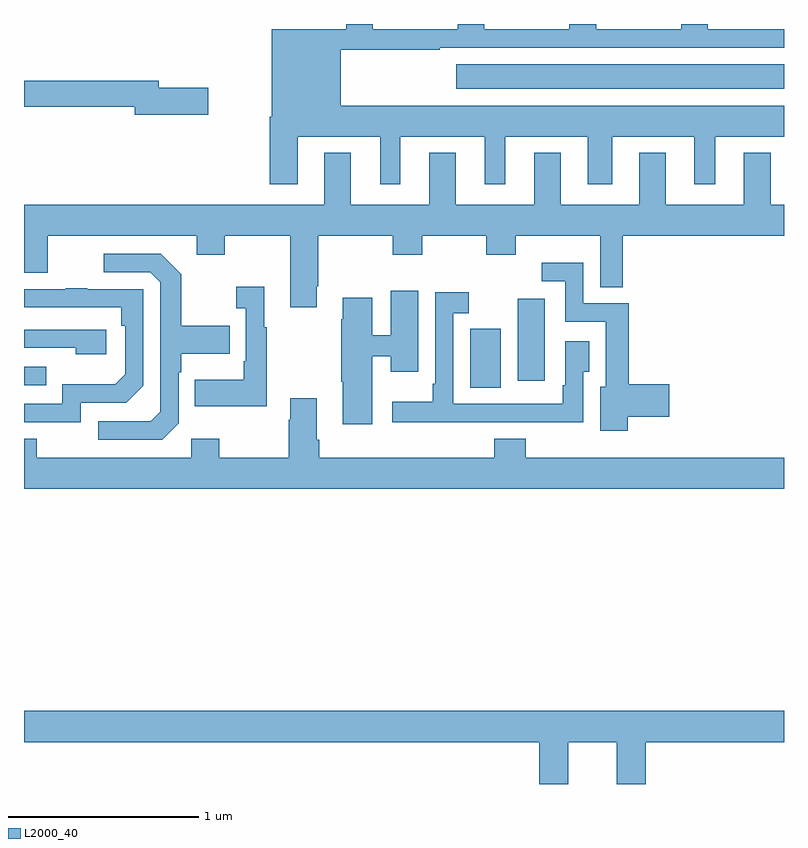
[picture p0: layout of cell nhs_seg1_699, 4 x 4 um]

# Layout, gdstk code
import gdstk
lib = gdstk.Library(unit=1e-6, precision=1e-09)
def R(c, l, rs):  # rectangles x0, y0, x1, y1
    for r in rs: c.add(gdstk.rectangle(r[:2], r[2:], *l))
def P(c, l, *ps):  # polygons
    for p in ps: c.add(gdstk.Polygon(p, *l))
L2000_40 = (2000, 40)

nhs_seg1_699 = lib.new_cell('nhs_seg1_699')
R(nhs_seg1_699, L2000_40, [(151.349,532.285,151.51,532.596), (149,532.299,149.117,532.395), (151.598,532.322,151.741,532.753), (151.275,533.858,153,533.986)])
P(nhs_seg1_699, L2000_40, [(150.442,533.606),(150.875,533.606),(150.875,533.355),(150.979,533.355),(150.979,533.606),(151.424,533.606),(151.424,533.355),(151.534,533.355),(151.534,533.606),(151.967,533.606),(151.967,533.355),(152.095,533.355),(152.095,533.606),(152.528,533.606),(152.528,533.355),(152.638,533.355),(152.638,533.606),(153,533.606),(153,533.77),(150.667,533.77),(150.667,534.063),(151.187,534.063),(151.187,534.075),(153,534.075),(153,534.171),(152.599,534.171),(152.599,534.199),(152.459,534.199),(152.459,534.171),(152.011,534.171),(152.011,534.199),(151.871,534.199),(151.871,534.171),(151.423,534.171),(151.423,534.199),(151.283,534.199),(151.283,534.171),(150.835,534.171),(150.835,534.199),(150.695,534.199),(150.695,534.172),(150.305,534.172),(150.305,533.71),(150.293,533.71),(150.293,533.355),(150.442,533.355)],
  [(149.971,533.864),(149.71,533.864),(149.71,533.9),(149,533.9),(149,533.764),(149.582,533.764),(149.582,533.722),(149.971,533.722)],
  [(149,532.89),(149.125,532.89),(149.125,533.084),(149.909,533.084),(149.909,532.985),(150.057,532.985),(150.057,533.084),(150.401,533.084),(150.401,532.707),(150.541,532.707),(150.541,532.819),(150.549,532.819),(150.549,533.084),(150.94,533.084),(150.94,532.985),(151.095,532.985),(151.095,533.084),(151.432,533.084),(151.432,532.985),(151.587,532.985),(151.587,533.084),(152.033,533.084),(152.033,532.813),(152.152,532.813),(152.152,533.084),(153,533.084),(153,533.248),(152.929,533.248),(152.929,533.521),(152.789,533.521),(152.789,533.248),(152.377,533.248),(152.377,533.521),(152.237,533.521),(152.237,533.248),(151.825,533.248),(151.825,533.521),(151.685,533.521),(151.685,533.248),(151.273,533.248),(151.273,533.521),(151.133,533.521),(151.133,533.248),(150.721,533.248),(150.721,533.521),(150.581,533.521),(150.581,533.248),(149,533.248)],
  [(149.814,532.098),(149.814,532.367),(149.827,532.367),(149.827,532.463),(150.083,532.463),(150.083,532.611),(149.827,532.611),(149.827,532.883),(149.721,532.989),(149.421,532.989),(149.421,532.893),(149.664,532.893),(149.718,532.839),(149.718,532.158),(149.667,532.107),(149.391,532.107),(149.391,532.011),(149.727,532.011)],
  [(152.177,532.133),(152.395,532.133),(152.395,532.304),(152.182,532.304),(152.182,532.728),(151.944,532.728),(151.944,532.942),(151.725,532.942),(151.725,532.845),(151.848,532.845),(151.848,532.632),(152.063,532.632),(152.063,532.291),(152.033,532.291),(152.033,532.059),(152.177,532.059)],
  [(150.277,532.603),(150.265,532.603),(150.265,532.816),(150.117,532.816),(150.117,532.703),(150.168,532.703),(150.168,532.423),(150.156,532.423),(150.156,532.327),(149.899,532.327),(149.899,532.187),(150.277,532.187)],
  [(149.298,532.206),(149.538,532.206),(149.628,532.296),(149.628,532.803),(149.333,532.803),(149.333,532.808),(149.221,532.808),(149.221,532.803),(149,532.803),(149,532.707),(149.512,532.707),(149.512,532.61),(149.532,532.61),(149.532,532.356),(149.479,532.303),(149.202,532.303),(149.202,532.2),(149,532.2),(149,532.104),(149.298,532.104)],
  [(150.832,532.45),(150.929,532.45),(150.929,532.368),(151.075,532.368),(151.075,532.795),(150.929,532.795),(150.929,532.561),(150.832,532.561),(150.832,532.759),(150.677,532.759),(150.677,532.646),(150.67,532.646),(150.67,532.315),(150.677,532.315),(150.677,532.092),(150.832,532.092)],
  [(151.357,532.104),(151.723,532.104),(151.723,532.103),(151.944,532.103),(151.944,532.369),(151.975,532.369),(151.975,532.528),(151.848,532.528),(151.848,532.297),(151.836,532.297),(151.836,532.2),(151.26,532.2),(151.26,532.677),(151.342,532.677),(151.342,532.786),(151.164,532.786),(151.164,532.306),(151.152,532.306),(151.152,532.21),(150.939,532.21),(150.939,532.103),(151.357,532.103)],
  [(149.434,532.59),(149,532.59),(149,532.494),(149.273,532.494),(149.273,532.46),(149.434,532.46)],
  [(153,531.916),(151.64,531.916),(151.64,532.015),(151.475,532.015),(151.475,531.916),(150.554,531.916),(150.554,532.012),(150.541,532.012),(150.541,532.228),(150.401,532.228),(150.401,532.115),(150.394,532.115),(150.394,531.916),(150.027,531.916),(150.027,532.015),(149.88,532.015),(149.88,531.916),(149.067,531.916),(149.067,532.015),(149,532.015),(149,531.752),(153,531.752)],
  [(149,530.42),(151.712,530.42),(151.712,530.199),(151.864,530.199),(151.864,530.42),(152.12,530.42),(152.12,530.199),(152.273,530.199),(152.273,530.42),(153,530.42),(153,530.584),(149,530.584)])

lib.write_gds('nhs_seg1_699.gds')
